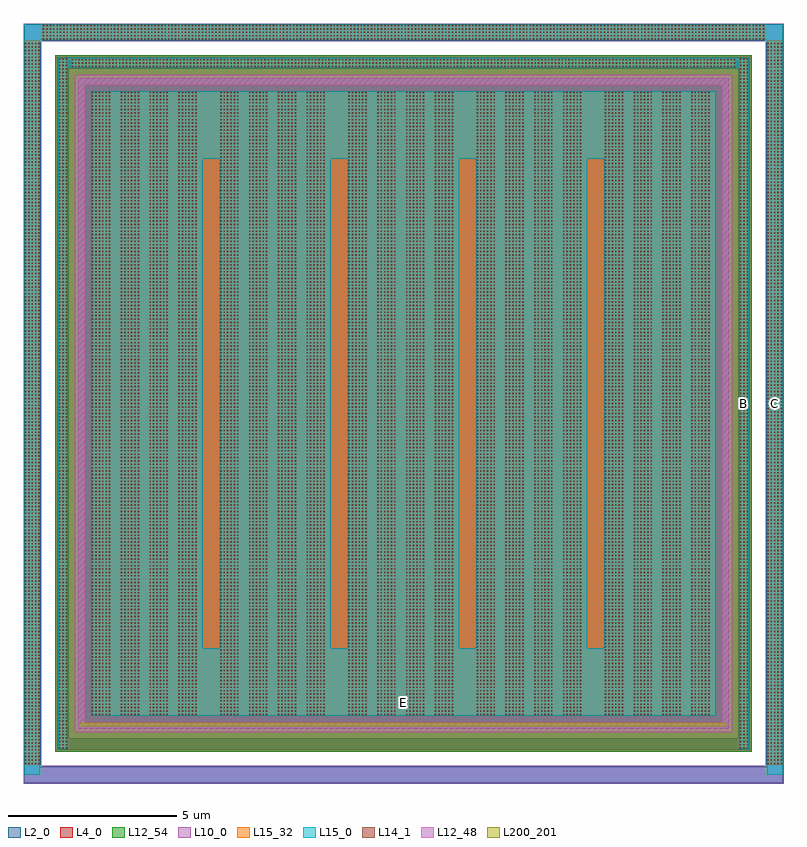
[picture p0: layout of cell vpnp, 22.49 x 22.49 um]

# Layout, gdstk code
import gdstk
lib = gdstk.Library(unit=1e-6, precision=1e-09)
def R(c, l, rs):  # rectangles x0, y0, x1, y1
    for r in rs: c.add(gdstk.rectangle(r[:2], r[2:], *l))
def A(c, l, x, y, w, h, nx, ny, dx, dy):  # array of equal rectangles
    R(c, l, [(x+i*dx, y+j*dy, x+i*dx+w, y+j*dy+h) for i in range(nx) for j in range(ny)])
L2_0 = (2, 0)
L4_0 = (4, 0)
L10_0 = (10, 0)
L12_48 = (12, 48)
L12_54 = (12, 54)
L14_1 = (14, 1)
L15_0 = (15, 0)
L15_32 = (15, 32)
L200_201 = (200, 201)

vpnp = lib.new_cell('vpnp')
R(vpnp, L2_0, [(-17.729,-9.759,4.723,-9.279), (-17.729,-9.279,-17.249,12.213), (4.243,-9.279,4.723,12.213), (-16.749,-8.779,3.743,-8.439), (-16.749,-8.439,-16.409,11.373), (3.403,-8.439,3.743,11.373), (-16.053,-8.083,3.047,11.017), (-16.749,11.373,3.743,11.713), (-17.729,12.213,4.723,12.693)])
R(vpnp, L4_0, [(-16.805,-8.835,3.799,11.769)])
R(vpnp, L10_0, [(-17.75,-9.78,4.744,-9.258), (-17.75,-9.258,-17.228,12.192), (4.222,-9.258,4.744,12.192), (-16.123,-8.153,3.117,11.087), (-17.75,12.192,4.744,12.714)])
R(vpnp, L12_48, [(-16.234,-8.264,3.228,-7.958), (-16.234,-7.958,-15.928,10.892), (2.922,-7.958,3.228,10.892), (-16.234,10.892,3.228,11.198)])
R(vpnp, L12_54, [(-16.805,-8.835,3.799,11.769)])
A(vpnp, L14_1, -17.709, -9.203, 0.04, 0.04, 5, 214, 0.1, 0.1)
A(vpnp, L14_1, 4.263, -9.203, 0.04, 0.04, 5, 214, 0.1, 0.1)
A(vpnp, L14_1, -16.699, -8.753, 0.04, 0.04, 3, 205, 0.1, 0.1)
A(vpnp, L14_1, 3.453, -8.753, 0.04, 0.04, 3, 205, 0.1, 0.1)
A(vpnp, L14_1, -15.723, -7.753, 0.04, 0.04, 6, 185, 0.1, 0.1)
A(vpnp, L14_1, -14.871, -7.753, 0.04, 0.04, 6, 185, 0.1, 0.1)
A(vpnp, L14_1, -14.019, -7.753, 0.04, 0.04, 6, 185, 0.1, 0.1)
A(vpnp, L14_1, -13.167, -7.753, 0.04, 0.04, 6, 185, 0.1, 0.1)
A(vpnp, L14_1, -11.927, -7.753, 0.04, 0.04, 6, 185, 0.1, 0.1)
A(vpnp, L14_1, -11.075, -7.753, 0.04, 0.04, 6, 185, 0.1, 0.1)
A(vpnp, L14_1, -10.223, -7.753, 0.04, 0.04, 6, 185, 0.1, 0.1)
A(vpnp, L14_1, -9.371, -7.753, 0.04, 0.04, 6, 185, 0.1, 0.1)
A(vpnp, L14_1, -8.132, -7.753, 0.04, 0.04, 6, 185, 0.1, 0.1)
A(vpnp, L14_1, -7.28, -7.753, 0.04, 0.04, 6, 185, 0.1, 0.1)
A(vpnp, L14_1, -6.428, -7.753, 0.04, 0.04, 6, 185, 0.1, 0.1)
A(vpnp, L14_1, -5.576, -7.753, 0.04, 0.04, 6, 185, 0.1, 0.1)
A(vpnp, L14_1, -4.337, -7.753, 0.04, 0.04, 6, 185, 0.1, 0.1)
A(vpnp, L14_1, -3.485, -7.753, 0.04, 0.04, 6, 185, 0.1, 0.1)
A(vpnp, L14_1, -2.633, -7.753, 0.04, 0.04, 6, 185, 0.1, 0.1)
A(vpnp, L14_1, -1.781, -7.753, 0.04, 0.04, 6, 185, 0.1, 0.1)
A(vpnp, L14_1, -0.542, -7.753, 0.04, 0.04, 6, 185, 0.1, 0.1)
A(vpnp, L14_1, 0.31, -7.753, 0.04, 0.04, 6, 185, 0.1, 0.1)
A(vpnp, L14_1, 1.162, -7.753, 0.04, 0.04, 6, 185, 0.1, 0.1)
A(vpnp, L14_1, 2.014, -7.753, 0.04, 0.04, 6, 185, 0.1, 0.1)
A(vpnp, L14_1, -16.323, 11.423, 0.04, 0.04, 197, 3, 0.1, 0.1)
A(vpnp, L14_1, -17.173, 12.233, 0.04, 0.04, 214, 5, 0.1, 0.1)
A(vpnp, L15_0, -11.945, -5.771, 3.295, 14.476, 4, 1, 3.795, 0)
R(vpnp, L15_0, [(-17.727,-9.519,-17.251,12.691), (4.245,-9.519,4.721,12.691), (-16.717,-8.771,-16.441,11.705), (3.435,-8.771,3.711,11.705), (-15.741,-7.771,2.735,-5.771), (-15.741,-5.771,-12.446,8.705), (-15.741,8.705,2.735,10.705), (-16.441,11.405,3.435,11.705), (-17.251,12.215,4.245,12.691)])
R(vpnp, L15_32, [(-17.727,-9.221,-17.251,12.215), (4.245,-9.221,4.721,12.215), (-16.717,-8.771,-16.441,11.705), (3.435,-8.771,3.711,11.705), (-15.741,-7.771,2.735,10.705), (-16.341,11.405,3.335,11.681), (-17.191,12.215,4.185,12.691)])
R(vpnp, L200_201, [(-16.053,-8.083,3.047,-7.983)])
vpnp.add(gdstk.Label('E', (-6.503,-7.383), layer=15, texttype=20))
vpnp.add(gdstk.Label('B', (3.573,1.467), layer=15, texttype=20))
vpnp.add(gdstk.Label('C', (4.483,1.467), layer=15, texttype=20))

lib.write_gds('vpnp.gds')
